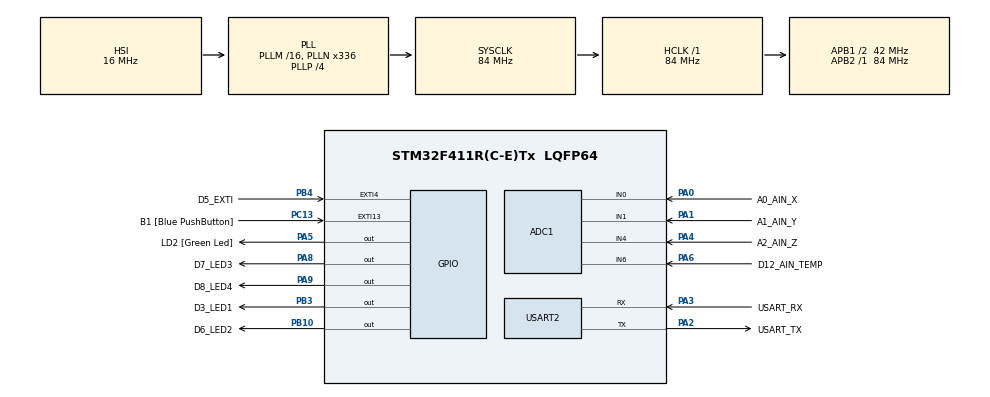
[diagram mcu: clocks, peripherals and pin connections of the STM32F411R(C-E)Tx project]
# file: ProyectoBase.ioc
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ADC1.Channel-0\#ChannelRegularConversion=ADC_CHANNEL_0
ADC1.Channel-1\#ChannelRegularConversion=ADC_CHANNEL_1
ADC1.Channel-2\#ChannelRegularConversion=ADC_CHANNEL_4
ADC1.Channel-3\#ChannelRegularConversion=ADC_CHANNEL_6
ADC1.ClockPrescaler=ADC_CLOCK_SYNC_PCLK_DIV8
ADC1.ContinuousConvMode=DISABLE
ADC1.DMAContinuousRequests=ENABLE
ADC1.EOCSelection=ADC_EOC_SEQ_CONV
ADC1.ExternalTrigConv=ADC_EXTERNALTRIGCONV_T3_TRGO
ADC1.NbrOfConversion=4
ADC1.NbrOfConversionFlag=1
ADC1.Rank-0\#ChannelRegularConversion=1
ADC1.Rank-1\#ChannelRegularConversion=2
ADC1.Rank-2\#ChannelRegularConversion=3
ADC1.Rank-3\#ChannelRegularConversion=4
ADC1.SamplingTime-0\#ChannelRegularConversion=ADC_SAMPLETIME_480CYCLES
ADC1.SamplingTime-1\#ChannelRegularConversion=ADC_SAMPLETIME_480CYCLES
ADC1.SamplingTime-2\#ChannelRegularConversion=ADC_SAMPLETIME_480CYCLES
ADC1.SamplingTime-3\#ChannelRegularConversion=ADC_SAMPLETIME_480CYCLES
ADC1.ScanConvMode=ENABLE
ADC1.master=1
Dma.ADC1.0.Direction=DMA_PERIPH_TO_MEMORY
Dma.ADC1.0.FIFOMode=DMA_FIFOMODE_DISABLE
Dma.ADC1.0.Instance=DMA2_Stream0
Dma.ADC1.0.MemDataAlignment=DMA_MDATAALIGN_HALFWORD
Dma.ADC1.0.MemInc=DMA_MINC_ENABLE
Dma.ADC1.0.Mode=DMA_CIRCULAR
Dma.ADC1.0.PeriphDataAlignment=DMA_PDATAALIGN_HALFWORD
Dma.ADC1.0.PeriphInc=DMA_PINC_DISABLE
Dma.ADC1.0.Priority=DMA_PRIORITY_LOW
Dma.Request0=ADC1
FREERTOS.Events01=LedAnimationEvents,Dynamic,NULL
FREERTOS.Mutexes01=LedArrayMutex,Dynamic,NULL
FREERTOS.Tasks01=SerialCommTask,24,256,StartMainTask,Default,NULL,Dynamic,NULL,NULL;LedAnimation1,24,256,StartLedAnimation1,Default,NULL,Dynamic,NULL,NULL;LedAnimation2,24,256,StartLedAnimation2,Default,NULL,Dynamic,NULL,NULL
FREERTOS.configENABLE_FPU=1
FREERTOS.configMINIMAL_STACK_SIZE=256
Mcu.Family=STM32F4
Mcu.Name=STM32F411R(C-E)Tx
Mcu.Package=LQFP64
NVIC.DMA2_Stream0_IRQn=true\:5\:0\:false\:false\:true\:true\:false\:true
NVIC.EXTI15_10_IRQn=true\:5\:0\:false\:false\:true\:true\:true\:true
NVIC.EXTI4_IRQn=true\:5\:0\:false\:false\:true\:true\:true\:true
NVIC.PriorityGroup=NVIC_PRIORITYGROUP_4
NVIC.TIM1_UP_TIM10_IRQn=true\:15\:0\:false\:false\:true\:false\:false\:true
NVIC.TimeBase=TIM1_UP_TIM10_IRQn
NVIC.TimeBaseIP=TIM1
NVIC.USART2_IRQn=true\:5\:0\:false\:false\:true\:true\:true\:true
PA0-WKUP.GPIO_Label=A0_AIN_X
PA0-WKUP.Signal=ADCx_IN0
PA1.GPIO_Label=A1_AIN_Y
PA1.Signal=ADCx_IN1
PA13.GPIO_Label=TMS
PA13.Mode=Serial_Wire
PA13.Signal=SYS_JTMS-SWDIO
PA14.GPIO_Label=TCK
PA14.Mode=Serial_Wire
PA14.Signal=SYS_JTCK-SWCLK
PA2.GPIO_Label=USART_TX
PA2.Mode=Asynchronous
PA2.Signal=USART2_TX
PA3.GPIO_Label=USART_RX
PA3.Mode=Asynchronous
PA3.Signal=USART2_RX
PA4.GPIO_Label=A2_AIN_Z
PA4.Signal=ADCx_IN4
PA5.GPIO_Label=LD2 [Green Led]
PA5.Signal=GPIO_Output
PA6.GPIO_Label=D12_AIN_TEMP
PA6.Signal=ADCx_IN6
PA8.GPIO_Label=D7_LED3
PA8.Signal=GPIO_Output
PA9.GPIO_Label=D8_LED4
PA9.Signal=GPIO_Output
PB10.GPIO_Label=D6_LED2
PB10.Signal=GPIO_Output
PB3.GPIO_Label=D3_LED1
PB3.Signal=GPIO_Output
PB4.GPIO_Label=D5_EXTI
PB4.GPIO_ModeDefaultEXTI=GPIO_MODE_IT_FALLING
PB4.GPIO_PuPd=GPIO_PULLUP
PB4.Signal=GPXTI4
PC13-ANTI_TAMP.GPIO_Label=B1 [Blue PushButton]
PC13-ANTI_TAMP.GPIO_ModeDefaultEXTI=GPIO_MODE_IT_FALLING
PC13-ANTI_TAMP.Signal=GPXTI13
PC14-OSC32_IN.Mode=LSE-External-Oscillator
PC14-OSC32_IN.Signal=RCC_OSC32_IN
PC15-OSC32_OUT.Mode=LSE-External-Oscillator
PC15-OSC32_OUT.Signal=RCC_OSC32_OUT
PH0\ -\ OSC_IN.Mode=HSE-External-Clock-Source
PH0\ -\ OSC_IN.Signal=RCC_OSC_IN
PH1\ -\ OSC_OUT.Mode=HSE-External-Clock-Source
PH1\ -\ OSC_OUT.Signal=RCC_OSC_OUT
ProjectManager.HeapSize=0x200
ProjectManager.StackSize=0x400
ProjectManager.TargetToolchain=STM32CubeIDE
RCC.48MHZClocksFreq_Value=84000000
RCC.AHBFreq_Value=84000000
RCC.APB1CLKDivider=RCC_HCLK_DIV2
RCC.APB1Freq_Value=42000000
RCC.APB1TimFreq_Value=84000000
RCC.APB2Freq_Value=84000000
RCC.APB2TimFreq_Value=84000000
RCC.CortexFreq_Value=84000000
RCC.FLatency-AdvancedSettings=FLASH_LATENCY_2
RCC.HCLKFreq_Value=84000000
RCC.HSE_VALUE=8000000
RCC.HSI_VALUE=16000000
RCC.PLLN=336
RCC.PLLP=RCC_PLLP_DIV4
RCC.SYSCLKFreq_VALUE=84000000
RCC.SYSCLKSource=RCC_SYSCLKSOURCE_PLLCLK
RCC.VCOOutputFreq_Value=336000000
SH.ADCx_IN0.0=ADC1_IN0,IN0
SH.ADCx_IN1.0=ADC1_IN1,IN1
SH.ADCx_IN4.0=ADC1_IN4,IN4
SH.ADCx_IN6.0=ADC1_IN6,IN6
TIM3.AutoReloadPreload=TIM_AUTORELOAD_PRELOAD_ENABLE
TIM3.Channel-Output\ Compare4\ No\ Output=TIM_CHANNEL_4
TIM3.Period=99
TIM3.Prescaler=209
TIM3.TIM_MasterOutputTrigger=TIM_TRGO_UPDATE
USART2.VirtualMode=VM_ASYNC
VP_FREERTOS_VS_CMSIS_V2.Mode=CMSIS_V2
VP_SYS_VS_tim1.Mode=TIM1
VP_TIM3_VS_ClockSourceINT.Mode=Internal
VP_TIM3_VS_no_output4.Mode=Output Compare4 No Output
board=NUCLEO-F411RE

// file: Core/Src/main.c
/* USER CODE BEGIN Header */
/**
  ******************************************************************************
  * @file           : main.c
  * @brief          : Main program body
  ******************************************************************************
  * @attention
  *
  * Copyright (c) 2022 STMicroelectronics.
  * All rights reserved.
  *
  * This software is licensed under terms that can be found in the LICENSE file
  * in the root directory of this software component.
  * If no LICENSE file comes with this software, it is provided AS-IS.
  *
  ******************************************************************************
  */
/* USER CODE END Header */
#include "main.h"
#include "cmsis_os.h"

/* USER CODE BEGIN Includes */
#include "server.h"
#include <math.h>
/* USER CODE END Includes */

/* USER CODE BEGIN PD */
#define READ_RAW_ANALOG_VALUES	(1)

#define VREF (3.3f)

#define ANALOG_BUFFER_SIZE	(11)

#define DIR_CANAL_X (0)
#define DIR_CANAL_Y (1)
#define DIR_CANAL_Z (2)
#define DIR_CANAL_T (3)

#define LED_ANIMATION_1	(1)
#define LED_ANIMATION_2	(2)

#define ENABLE_LED_ANIMATION_1	(0x1)
#define ENABLE_LED_ANIMATION_2	(0x2)

#define MAX_ANIM_PERIOD_FACTOR	(10)

/* USER CODE END PD */

ADC_HandleTypeDef hadc1;
DMA_HandleTypeDef hdma_adc1;

TIM_HandleTypeDef htim3;

UART_HandleTypeDef huart2;

/* Definitions for SerialCommTask */
osThreadId_t SerialCommTaskHandle;
const osThreadAttr_t SerialCommTask_attributes = {
  .name = "SerialCommTask",
  .stack_size = 256 * 4,
  .priority = (osPriority_t) osPriorityNormal,
};
/* Definitions for LedAnimation1 */
osThreadId_t LedAnimation1Handle;
const osThreadAttr_t LedAnimation1_attributes = {
  .name = "LedAnimation1",
  .stack_size = 256 * 4,
  .priority = (osPriority_t) osPriorityNormal,
};
/* Definitions for LedAnimation2 */
osThreadId_t LedAnimation2Handle;
const osThreadAttr_t LedAnimation2_attributes = {
  .name = "LedAnimation2",
  .stack_size = 256 * 4,
  .priority = (osPriority_t) osPriorityNormal,
};
/* Definitions for LedArrayMutex */
osMutexId_t LedArrayMutexHandle;
const osMutexAttr_t LedArrayMutex_attributes = {
  .name = "LedArrayMutex"
};
/* Definitions for LedAnimationEvents */
osEventFlagsId_t LedAnimationEventsHandle;
const osEventFlagsAttr_t LedAnimationEvents_attributes = {
  .name = "LedAnimationEvents"
};
/* USER CODE BEGIN PV */

volatile uint16_t ADC_DMA_buffer[4];

float analog_buffer[4][ANALOG_BUFFER_SIZE];
uint8_t current_sample_index;

uint8_t animation_period_factor=5;

/* USER CODE END PV */

void SystemClock_Config(void);
static void MX_GPIO_Init(void);
static void MX_USART2_UART_Init(void);
static void MX_DMA_Init(void);
static void MX_ADC1_Init(void);
static void MX_TIM3_Init(void);
void StartMainTask(void *argument);
void StartLedAnimation1(void *argument);
void StartLedAnimation2(void *argument);

/* USER CODE BEGIN 0 */

void led_on(uint8_t v)
{
	switch (v)
	{
		case 0:
			HAL_GPIO_WritePin(D3_LED1_GPIO_Port, D3_LED1_Pin, GPIO_PIN_SET);
			HAL_GPIO_WritePin(D6_LED2_GPIO_Port, D6_LED2_Pin, GPIO_PIN_SET);
			HAL_GPIO_WritePin(D7_LED3_GPIO_Port, D7_LED3_Pin, GPIO_PIN_SET);
			HAL_GPIO_WritePin(D8_LED4_GPIO_Port, D8_LED4_Pin, GPIO_PIN_SET);
			break;
		case 1:
			HAL_GPIO_WritePin(D3_LED1_GPIO_Port, D3_LED1_Pin, GPIO_PIN_SET);
			break;
		case 2:
			HAL_GPIO_WritePin(D6_LED2_GPIO_Port, D6_LED2_Pin, GPIO_PIN_SET);
			break;
		case 3:
			HAL_GPIO_WritePin(D7_LED3_GPIO_Port, D7_LED3_Pin, GPIO_PIN_SET);
			break;
		case 4:
			HAL_GPIO_WritePin(D8_LED4_GPIO_Port, D8_LED4_Pin, GPIO_PIN_SET);
			break;

	}
}

void led_off(uint8_t v)
{
	switch (v)
	{
		case 0:
			HAL_GPIO_WritePin(D3_LED1_GPIO_Port, D3_LED1_Pin, GPIO_PIN_RESET);
			HAL_GPIO_WritePin(D6_LED2_GPIO_Port, D6_LED2_Pin, GPIO_PIN_RESET);
			HAL_GPIO_WritePin(D7_LED3_GPIO_Port, D7_LED3_Pin, GPIO_PIN_RESET);
			HAL_GPIO_WritePin(D8_LED4_GPIO_Port, D8_LED4_Pin, GPIO_PIN_RESET);
			break;
		case 1:
			HAL_GPIO_WritePin(D3_LED1_GPIO_Port, D3_LED1_Pin, GPIO_PIN_RESET);
			break;
		case 2:
			HAL_GPIO_WritePin(D6_LED2_GPIO_Port, D6_LED2_Pin, GPIO_PIN_RESET);
			break;
		case 3:
			HAL_GPIO_WritePin(D7_LED3_GPIO_Port, D7_LED3_Pin, GPIO_PIN_RESET);
			break;
		case 4:
			HAL_GPIO_WritePin(D8_LED4_GPIO_Port, D8_LED4_Pin, GPIO_PIN_RESET);
			break;
	}
}

/* USER CODE END 0 */

int main(void)
{

  /* MCU Configuration--------------------------------------------------------*/

  /* Reset of all peripherals, Initializes the Flash interface and the Systick. */
  HAL_Init();

  /* Configure the system clock */
  SystemClock_Config();

  /* Initialize all configured peripherals */
  MX_GPIO_Init();
  MX_USART2_UART_Init();
  MX_DMA_Init();
  MX_ADC1_Init();
  MX_TIM3_Init();
  /* USER CODE BEGIN 2 */

  HAL_ADC_Start_DMA(&hadc1, (uint32_t*)ADC_DMA_buffer, 4);
  HAL_TIM_Base_Start_IT(&htim3);

  /* USER CODE END 2 */

  /* Init scheduler */
  osKernelInitialize();
  /* Create the mutex(es) */
  /* creation of LedArrayMutex */
  LedArrayMutexHandle = osMutexNew(&LedArrayMutex_attributes);

  /* Create the thread(s) */
  /* creation of SerialCommTask */
  SerialCommTaskHandle = osThreadNew(StartMainTask, NULL, &SerialCommTask_attributes);

  /* creation of LedAnimation1 */
  LedAnimation1Handle = osThreadNew(StartLedAnimation1, NULL, &LedAnimation1_attributes);

  /* creation of LedAnimation2 */
  LedAnimation2Handle = osThreadNew(StartLedAnimation2, NULL, &LedAnimation2_attributes);

  /* creation of LedAnimationEvents */
  LedAnimationEventsHandle = osEventFlagsNew(&LedAnimationEvents_attributes);

  /* Start scheduler */
  osKernelStart();

  /* We should never get here as control is now taken by the scheduler */
  /* Infinite loop */
  while (1)
  {

  }
}

void SystemClock_Config(void)
{
  RCC_OscInitTypeDef RCC_OscInitStruct = {0};
  RCC_ClkInitTypeDef RCC_ClkInitStruct = {0};

  /** Configure the main internal regulator output voltage
  */
  __HAL_RCC_PWR_CLK_ENABLE();
  __HAL_PWR_VOLTAGESCALING_CONFIG(PWR_REGULATOR_VOLTAGE_SCALE1);
  /** Initializes the RCC Oscillators according to the specified parameters
  * in the RCC_OscInitTypeDef structure.
  */
  RCC_OscInitStruct.OscillatorType = RCC_OSCILLATORTYPE_HSI;
  RCC_OscInitStruct.HSIState = RCC_HSI_ON;
  RCC_OscInitStruct.HSICalibrationValue = RCC_HSICALIBRATION_DEFAULT;
  RCC_OscInitStruct.PLL.PLLState = RCC_PLL_ON;
  RCC_OscInitStruct.PLL.PLLSource = RCC_PLLSOURCE_HSI;
  RCC_OscInitStruct.PLL.PLLM = 16;
  RCC_OscInitStruct.PLL.PLLN = 336;
  RCC_OscInitStruct.PLL.PLLP = RCC_PLLP_DIV4;
  RCC_OscInitStruct.PLL.PLLQ = 4;
  if (HAL_RCC_OscConfig(&RCC_OscInitStruct) != HAL_OK)
  {
    Error_Handler();
  }
  /** Initializes the CPU, AHB and APB buses clocks
  */
  RCC_ClkInitStruct.ClockType = RCC_CLOCKTYPE_HCLK|RCC_CLOCKTYPE_SYSCLK
                              |RCC_CLOCKTYPE_PCLK1|RCC_CLOCKTYPE_PCLK2;
  RCC_ClkInitStruct.SYSCLKSource = RCC_SYSCLKSOURCE_PLLCLK;
  RCC_ClkInitStruct.AHBCLKDivider = RCC_SYSCLK_DIV1;
  RCC_ClkInitStruct.APB1CLKDivider = RCC_HCLK_DIV2;
  RCC_ClkInitStruct.APB2CLKDivider = RCC_HCLK_DIV1;

  if (HAL_RCC_ClockConfig(&RCC_ClkInitStruct, FLASH_LATENCY_2) != HAL_OK)
  {
    Error_Handler();
  }
}

static void MX_ADC1_Init(void)
{

  ADC_ChannelConfTypeDef sConfig = {0};

  /** Configure the global features of the ADC (Clock, Resolution, Data Alignment and number of conversion)
  */
  hadc1.Instance = ADC1;
  hadc1.Init.ClockPrescaler = ADC_CLOCK_SYNC_PCLK_DIV8;
  hadc1.Init.Resolution = ADC_RESOLUTION_12B;
  hadc1.Init.ScanConvMode = ENABLE;
  hadc1.Init.ContinuousConvMode = DISABLE;
  hadc1.Init.DiscontinuousConvMode = DISABLE;
  hadc1.Init.ExternalTrigConvEdge = ADC_EXTERNALTRIGCONVEDGE_RISING;
  hadc1.Init.ExternalTrigConv = ADC_EXTERNALTRIGCONV_T3_TRGO;
  hadc1.Init.DataAlign = ADC_DATAALIGN_RIGHT;
  hadc1.Init.NbrOfConversion = 4;
  hadc1.Init.DMAContinuousRequests = ENABLE;
  hadc1.Init.EOCSelection = ADC_EOC_SEQ_CONV;
  if (HAL_ADC_Init(&hadc1) != HAL_OK)
  {
    Error_Handler();
  }
  /** Configure for the selected ADC regular channel its corresponding rank in the sequencer and its sample time.
  */
  sConfig.Channel = ADC_CHANNEL_0;
  sConfig.Rank = 1;
  sConfig.SamplingTime = ADC_SAMPLETIME_480CYCLES;
  if (HAL_ADC_ConfigChannel(&hadc1, &sConfig) != HAL_OK)
  {
    Error_Handler();
  }
  /** Configure for the selected ADC regular channel its corresponding rank in the sequencer and its sample time.
  */
  sConfig.Channel = ADC_CHANNEL_1;
  sConfig.Rank = 2;
  if (HAL_ADC_ConfigChannel(&hadc1, &sConfig) != HAL_OK)
  {
    Error_Handler();
  }
  /** Configure for the selected ADC regular channel its corresponding rank in the sequencer and its sample time.
  */
  sConfig.Channel = ADC_CHANNEL_4;
  sConfig.Rank = 3;
  if (HAL_ADC_ConfigChannel(&hadc1, &sConfig) != HAL_OK)
  {
    Error_Handler();
  }
  /** Configure for the selected ADC regular channel its corresponding rank in the sequencer and its sample time.
  */
  sConfig.Channel = ADC_CHANNEL_6;
  sConfig.Rank = 4;
  if (HAL_ADC_ConfigChannel(&hadc1, &sConfig) != HAL_OK)
  {
    Error_Handler();
  }

}

static void MX_TIM3_Init(void)
{

  TIM_ClockConfigTypeDef sClockSourceConfig = {0};
  TIM_MasterConfigTypeDef sMasterConfig = {0};
  TIM_OC_InitTypeDef sConfigOC = {0};

  htim3.Instance = TIM3;
  htim3.Init.Prescaler = 209;
  htim3.Init.CounterMode = TIM_COUNTERMODE_UP;
  htim3.Init.Period = 99;
  htim3.Init.ClockDivision = TIM_CLOCKDIVISION_DIV1;
  htim3.Init.AutoReloadPreload = TIM_AUTORELOAD_PRELOAD_ENABLE;
  if (HAL_TIM_Base_Init(&htim3) != HAL_OK)
  {
    Error_Handler();
  }
  sClockSourceConfig.ClockSource = TIM_CLOCKSOURCE_INTERNAL;
  if (HAL_TIM_ConfigClockSource(&htim3, &sClockSourceConfig) != HAL_OK)
  {
    Error_Handler();
  }
  if (HAL_TIM_OC_Init(&htim3) != HAL_OK)
  {
    Error_Handler();
  }
  sMasterConfig.MasterOutputTrigger = TIM_TRGO_UPDATE;
  sMasterConfig.MasterSlaveMode = TIM_MASTERSLAVEMODE_DISABLE;
  if (HAL_TIMEx_MasterConfigSynchronization(&htim3, &sMasterConfig) != HAL_OK)
  {
    Error_Handler();
  }
  sConfigOC.OCMode = TIM_OCMODE_TIMING;
  sConfigOC.Pulse = 0;
  sConfigOC.OCPolarity = TIM_OCPOLARITY_HIGH;
  sConfigOC.OCFastMode = TIM_OCFAST_DISABLE;
  if (HAL_TIM_OC_ConfigChannel(&htim3, &sConfigOC, TIM_CHANNEL_4) != HAL_OK)
  {
    Error_Handler();
  }

}

static void MX_USART2_UART_Init(void)
{

  huart2.Instance = USART2;
  huart2.Init.BaudRate = 115200;
  huart2.Init.WordLength = UART_WORDLENGTH_8B;
  huart2.Init.StopBits = UART_STOPBITS_1;
  huart2.Init.Parity = UART_PARITY_NONE;
  huart2.Init.Mode = UART_MODE_TX_RX;
  huart2.Init.HwFlowCtl = UART_HWCONTROL_NONE;
  huart2.Init.OverSampling = UART_OVERSAMPLING_16;
  if (HAL_UART_Init(&huart2) != HAL_OK)
  {
    Error_Handler();
  }

}

static void MX_DMA_Init(void)
{

  /* DMA controller clock enable */
  __HAL_RCC_DMA2_CLK_ENABLE();

  /* DMA interrupt init */
  /* DMA2_Stream0_IRQn interrupt configuration */
  HAL_NVIC_SetPriority(DMA2_Stream0_IRQn, 5, 0);
  HAL_NVIC_EnableIRQ(DMA2_Stream0_IRQn);

}

static void MX_GPIO_Init(void)
{
  GPIO_InitTypeDef GPIO_InitStruct = {0};

  /* GPIO Ports Clock Enable */
  __HAL_RCC_GPIOC_CLK_ENABLE();
  __HAL_RCC_GPIOH_CLK_ENABLE();
  __HAL_RCC_GPIOA_CLK_ENABLE();
  __HAL_RCC_GPIOB_CLK_ENABLE();

  /*Configure GPIO pin Output Level */
  HAL_GPIO_WritePin(GPIOA, LD2_Pin|D7_LED3_Pin|D8_LED4_Pin, GPIO_PIN_RESET);

  /*Configure GPIO pin Output Level */
  HAL_GPIO_WritePin(GPIOB, D6_LED2_Pin|D3_LED1_Pin, GPIO_PIN_RESET);

  /*Configure GPIO pin : B1_Pin */
  GPIO_InitStruct.Pin = B1_Pin;
  GPIO_InitStruct.Mode = GPIO_MODE_IT_FALLING;
  GPIO_InitStruct.Pull = GPIO_NOPULL;
  HAL_GPIO_Init(B1_GPIO_Port, &GPIO_InitStruct);

  /*Configure GPIO pins : LD2_Pin D7_LED3_Pin D8_LED4_Pin */
  GPIO_InitStruct.Pin = LD2_Pin|D7_LED3_Pin|D8_LED4_Pin;
  GPIO_InitStruct.Mode = GPIO_MODE_OUTPUT_PP;
  GPIO_InitStruct.Pull = GPIO_NOPULL;
  GPIO_InitStruct.Speed = GPIO_SPEED_FREQ_LOW;
  HAL_GPIO_Init(GPIOA, &GPIO_InitStruct);

  /*Configure GPIO pins : D6_LED2_Pin D3_LED1_Pin */
  GPIO_InitStruct.Pin = D6_LED2_Pin|D3_LED1_Pin;
  GPIO_InitStruct.Mode = GPIO_MODE_OUTPUT_PP;
  GPIO_InitStruct.Pull = GPIO_NOPULL;
  GPIO_InitStruct.Speed = GPIO_SPEED_FREQ_LOW;
  HAL_GPIO_Init(GPIOB, &GPIO_InitStruct);

  /*Configure GPIO pin : D5_EXTI_Pin */
  GPIO_InitStruct.Pin = D5_EXTI_Pin;
  GPIO_InitStruct.Mode = GPIO_MODE_IT_FALLING;
  GPIO_InitStruct.Pull = GPIO_PULLUP;
  HAL_GPIO_Init(D5_EXTI_GPIO_Port, &GPIO_InitStruct);

  /* EXTI interrupt init*/
  HAL_NVIC_SetPriority(EXTI4_IRQn, 5, 0);
  HAL_NVIC_EnableIRQ(EXTI4_IRQn);

  HAL_NVIC_SetPriority(EXTI15_10_IRQn, 5, 0);
  HAL_NVIC_EnableIRQ(EXTI15_10_IRQn);

}

/* USER CODE BEGIN 4 */

void HAL_GPIO_EXTI_Callback(uint16_t GPIO_Pin)
{
	switch( GPIO_Pin )
	{
	case GPIO_PIN_15: // Botón de la placa Nucleo (+ velocidad)
		animation_period_factor = (animation_period_factor==1 ? MAX_ANIM_PERIOD_FACTOR : animation_period_factor-1);
		HAL_GPIO_TogglePin(LD2_GPIO_Port, LD2_Pin);
		break;

	case GPIO_PIN_4: // Botón externo (- velocidad)
		animation_period_factor = (animation_period_factor==MAX_ANIM_PERIOD_FACTOR ? 1 : animation_period_factor+1);
		HAL_GPIO_TogglePin(LD2_GPIO_Port, LD2_Pin);
		break;
	}
}

/* Obtención y filtrado de las muestras */
void HAL_ADC_ConvCpltCallback(ADC_HandleTypeDef* hadc){

	current_sample_index = (current_sample_index+1)%ANALOG_BUFFER_SIZE;

	for( uint8_t i=0; i<4; ++i )
		analog_buffer[i][current_sample_index] = ADC_DMA_buffer[i];
}

/*
 * Comandos definidos
 *
 * */

int read_analog( uint8_t address, const union Data * tx, union Data * rx )
{

	if( address > 3 )
	{
		return CMD_INVALID_ADDR;
	}

#if !READ_RAW_ANALOG_VALUES
	float Axout, Ayout, Azout;

	Axout = (((analog_buffer[DIR_CANAL_X][current_sample_index] * VREF)/4095.0)-1.6)/0.32;
	Ayout = (((analog_buffer[DIR_CANAL_Y][current_sample_index] * VREF)/4095.0)-1.6)/0.32;
	Azout = (((analog_buffer[DIR_CANAL_Z][current_sample_index] * VREF)/4095.0)-1.7)/0.32;
#endif

	switch( address )
	{
	case DIR_CANAL_X:

#if READ_RAW_ANALOG_VALUES
		rx->F = (analog_buffer[DIR_CANAL_X][current_sample_index] * VREF)/4095.0;
#else
		rx->F = atan2(Axout,(sqrt(pow(Ayout,2)+pow(Azout,2))))*(180/PI); // En grados, formula sacada de internet
#endif
		break;

	case DIR_CANAL_Y:

#if READ_RAW_ANALOG_VALUES
		rx->F = (analog_buffer[DIR_CANAL_Y][current_sample_index] * VREF)/4095.0;
#else
		rx->F = atan2(Ayout,(sqrt(pow(Axout,2)+pow(Azout,2))))*(180.0/PI); // En grados, formula sacada de internet
#endif
		break;

	case DIR_CANAL_Z:

#if READ_RAW_ANALOG_VALUES
		rx->F = (analog_buffer[DIR_CANAL_Z][current_sample_index] * VREF)/4095.0;
#else
		rx->F = atan2((sqrt(pow(Axout,2)+pow(Ayout,2))),Azout)*(180.0/PI); // En grados, formula sacada de internet
#endif
		break;

	case DIR_CANAL_T:
		rx->F = (analog_buffer[DIR_CANAL_T][current_sample_index]*VREF)/4095.0;
		break;
	}

	return CMD_SUCCESS;
}

int switch_led_animations( uint8_t address, const union Data * tx, union Data * rx )
{

	switch( tx->W )
	{
	case LED_ANIMATION_1:
		osEventFlagsClear(LedAnimationEventsHandle, ENABLE_LED_ANIMATION_2);
		osEventFlagsSet(LedAnimationEventsHandle, ENABLE_LED_ANIMATION_1);
		break;

	case LED_ANIMATION_2:
		osEventFlagsClear(LedAnimationEventsHandle, ENABLE_LED_ANIMATION_1);
		osEventFlagsSet(LedAnimationEventsHandle, ENABLE_LED_ANIMATION_2);
		break;

	default:
		return CMD_INVALID_DATA;
	}

	return CMD_SUCCESS;
}

void HAL_UART_RxCpltCallback(UART_HandleTypeDef *UartHandle)
{
	if( UartHandle == &huart2 )
	{
		UART_notify_RxCplt();
	}
}

void HAL_UART_TxCpltCallback(UART_HandleTypeDef *UartHandle)
{
	if( UartHandle == &huart2 )
	{
		UART_notify_TxCplt();
	}
}

/* USER CODE END 4 */

void StartMainTask(void *argument)
{
  /* USER CODE BEGIN 5 */

	UART_register_command( 0x1, switch_led_animations );
	UART_register_command( 0x3, read_analog );

	UART_initialize( &huart2, 100 );

	UART_start_server();

  /* USER CODE END 5 */
}

void StartLedAnimation1(void *argument)
{
  /* USER CODE BEGIN StartLedAnimation1 */

	osEventFlagsSet(LedAnimationEventsHandle, ENABLE_LED_ANIMATION_1);

	for(;;)
	{
		osEventFlagsWait(LedAnimationEventsHandle, ENABLE_LED_ANIMATION_1, osFlagsWaitAny|osFlagsNoClear, osWaitForever);
		osMutexAcquire(LedArrayMutexHandle, osWaitForever);

	  	led_off(0);
		for (uint8_t i=1; i<5; i++)
		{
			led_on(i);
			osDelay(80*animation_period_factor);
		}

		for (uint8_t i=1;i<5;i++)
		{
			led_off(i);
			osDelay(80*animation_period_factor);
		}

		led_on(0);
		osDelay(80*animation_period_factor);

		led_off(0);
		osDelay(80*animation_period_factor);

		osMutexRelease(LedArrayMutexHandle);
  }
  /* USER CODE END StartLedAnimation1 */
}

void StartLedAnimation2(void *argument)
{
  /* USER CODE BEGIN StartLedAnimation2 */

	osEventFlagsClear(LedAnimationEventsHandle, ENABLE_LED_ANIMATION_2);

	for(;;)
	{
		osEventFlagsWait(LedAnimationEventsHandle, ENABLE_LED_ANIMATION_2, osFlagsWaitAny|osFlagsNoClear, osWaitForever);
		osMutexAcquire(LedArrayMutexHandle, osWaitForever);

		led_off(0);
		led_on(1);
		led_off(2);
		led_on(3);
		osDelay(100*animation_period_factor);

		led_on(0);
		led_off(1);
		led_on(2);
		led_off(3);
		osDelay(100*animation_period_factor);

		osMutexRelease(LedArrayMutexHandle);
	}
  /* USER CODE END StartLedAnimation2 */
}

void HAL_TIM_PeriodElapsedCallback(TIM_HandleTypeDef *htim)
{
  if (htim->Instance == TIM1) {
    HAL_IncTick();
  }
}

void Error_Handler(void)
{
  __disable_irq();
  while (1)
  {
  }
}
